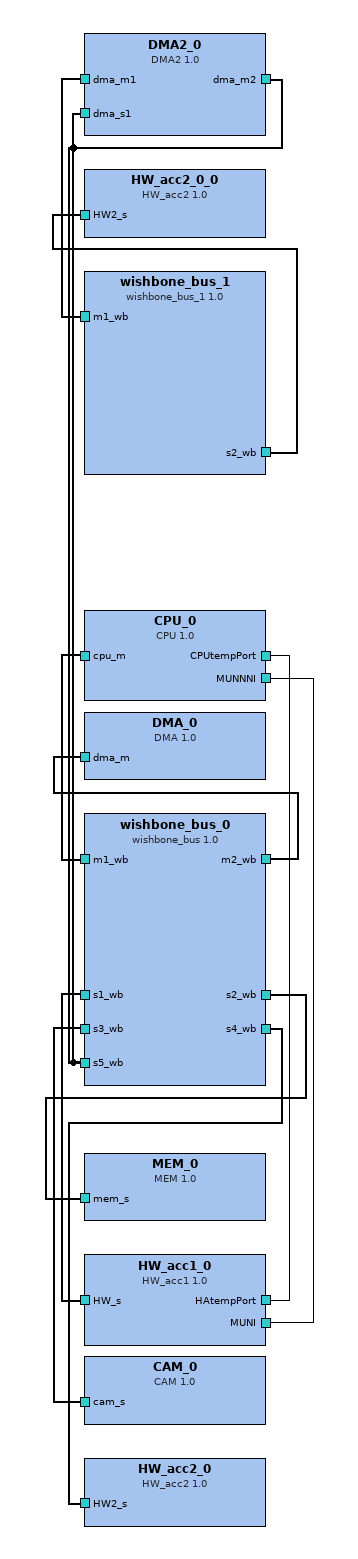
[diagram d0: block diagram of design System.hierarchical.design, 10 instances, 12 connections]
<?xml version="1.0" encoding="UTF-8"?>
<!-- Created by Kactus214:39:11 22.04.2014 -->
<spirit:design xmlns:kactus2="http://funbase.cs.tut.fi/" xmlns:spirit="http://www.spiritconsortium.org/XMLSchema/SPIRIT/1.5" xmlns:xsi="http://www.w3.org/2001/XMLSchema-instance" xsi:schemaLocation="http://www.spiritconsortium.org/XMLSchema/SPIRIT/1.5 http://www.spiritconsortium.org/XMLSchema/SPIRIT/1.5/index.xsd"><spirit:vendor>TUM</spirit:vendor><spirit:library>soc</spirit:library><spirit:name>System.hierarchical.design</spirit:name>
 <spirit:version>1.0</spirit:version><spirit:componentInstances>
 <spirit:componentInstance><spirit:instanceName>DMA2_0</spirit:instanceName><spirit:componentRef spirit:vendor="TUM" spirit:library="soc" spirit:name="DMA2" spirit:version="1.0"/></spirit:componentInstance>
 <spirit:componentInstance><spirit:instanceName>HW_acc2_0_0</spirit:instanceName><spirit:componentRef spirit:vendor="TUM" spirit:library="soc" spirit:name="HW_acc2" spirit:version="1.0"/></spirit:componentInstance>
 <spirit:componentInstance><spirit:instanceName>wishbone_bus_1</spirit:instanceName><spirit:componentRef spirit:vendor="TUM" spirit:library="soc" spirit:name="wishbone_bus_1" spirit:version="1.0"/></spirit:componentInstance>
 <spirit:componentInstance><spirit:instanceName>CPU_0</spirit:instanceName><spirit:componentRef spirit:vendor="TUM" spirit:library="soc" spirit:name="CPU" spirit:version="1.0"/></spirit:componentInstance>
 <spirit:componentInstance><spirit:instanceName>DMA_0</spirit:instanceName><spirit:componentRef spirit:vendor="TUM" spirit:library="soc" spirit:name="DMA" spirit:version="1.0"/></spirit:componentInstance>
 <spirit:componentInstance><spirit:instanceName>wishbone_bus_0</spirit:instanceName><spirit:componentRef spirit:vendor="TUM" spirit:library="soc" spirit:name="wishbone_bus" spirit:version="1.0"/></spirit:componentInstance>
 <spirit:componentInstance><spirit:instanceName>MEM_0</spirit:instanceName><spirit:componentRef spirit:vendor="TUM" spirit:library="soc" spirit:name="MEM" spirit:version="1.0"/></spirit:componentInstance>
 <spirit:componentInstance><spirit:instanceName>HW_acc1_0</spirit:instanceName><spirit:componentRef spirit:vendor="TUM" spirit:library="soc" spirit:name="HW_acc1" spirit:version="1.0"/></spirit:componentInstance>
 <spirit:componentInstance><spirit:instanceName>CAM_0</spirit:instanceName><spirit:componentRef spirit:vendor="TUM" spirit:library="soc" spirit:name="CAM" spirit:version="1.0"/></spirit:componentInstance>
 <spirit:componentInstance><spirit:instanceName>HW_acc2_0</spirit:instanceName><spirit:componentRef spirit:vendor="TUM" spirit:library="soc" spirit:name="HW_acc2" spirit:version="1.0"/></spirit:componentInstance>
</spirit:componentInstances><spirit:interconnections>
 <spirit:interconnection><spirit:name>DMA2_0_dma_m2__To__wishbone_bus_0_s5_wb</spirit:name><spirit:activeInterface spirit:componentRef="DMA2_0" spirit:busRef="dma_m2"/><spirit:activeInterface spirit:componentRef="wishbone_bus_0" spirit:busRef="s5_wb"/></spirit:interconnection>
 <spirit:interconnection><spirit:name>DMA2_0_dma_m1__To__wishbone_bus_1_m1_wb</spirit:name><spirit:activeInterface spirit:componentRef="DMA2_0" spirit:busRef="dma_m1"/><spirit:activeInterface spirit:componentRef="wishbone_bus_1" spirit:busRef="m1_wb"/></spirit:interconnection>
 <spirit:interconnection><spirit:name>wishbone_bus_1_s2_wb__To__HW_acc2_0_0_HW2_s</spirit:name><spirit:activeInterface spirit:componentRef="wishbone_bus_1" spirit:busRef="s2_wb"/><spirit:activeInterface spirit:componentRef="HW_acc2_0_0" spirit:busRef="HW2_s"/></spirit:interconnection>
 <spirit:interconnection><spirit:name>CPU_0_cpu_m__To__wishbone_bus_0_m1_wb</spirit:name><spirit:activeInterface spirit:componentRef="CPU_0" spirit:busRef="cpu_m"/><spirit:activeInterface spirit:componentRef="wishbone_bus_0" spirit:busRef="m1_wb"/></spirit:interconnection>
 <spirit:interconnection><spirit:name>DMA_0_dma_m__To__wishbone_bus_0_m2_wb</spirit:name><spirit:activeInterface spirit:componentRef="DMA_0" spirit:busRef="dma_m"/><spirit:activeInterface spirit:componentRef="wishbone_bus_0" spirit:busRef="m2_wb"/></spirit:interconnection>
 <spirit:interconnection><spirit:name>wishbone_bus_0_s1_wb__To__HW_acc1_0_HW_s</spirit:name><spirit:activeInterface spirit:componentRef="wishbone_bus_0" spirit:busRef="s1_wb"/><spirit:activeInterface spirit:componentRef="HW_acc1_0" spirit:busRef="HW_s"/></spirit:interconnection>
 <spirit:interconnection><spirit:name>wishbone_bus_0_s5_wb__To__DMA2_0_dma_s1</spirit:name><spirit:activeInterface spirit:componentRef="wishbone_bus_0" spirit:busRef="s5_wb"/><spirit:activeInterface spirit:componentRef="DMA2_0" spirit:busRef="dma_s1"/></spirit:interconnection>
 <spirit:interconnection><spirit:name>wishbone_bus_0_s4_wb__To__HW_acc2_0_HW2_s</spirit:name><spirit:activeInterface spirit:componentRef="wishbone_bus_0" spirit:busRef="s4_wb"/><spirit:activeInterface spirit:componentRef="HW_acc2_0" spirit:busRef="HW2_s"/></spirit:interconnection>
 <spirit:interconnection><spirit:name>wishbone_bus_0_s3_wb__To__CAM_0_cam_s</spirit:name><spirit:activeInterface spirit:componentRef="wishbone_bus_0" spirit:busRef="s3_wb"/><spirit:activeInterface spirit:componentRef="CAM_0" spirit:busRef="cam_s"/></spirit:interconnection>
 <spirit:interconnection><spirit:name>wishbone_bus_0_s2_wb__To__MEM_0_mem_s</spirit:name><spirit:activeInterface spirit:componentRef="wishbone_bus_0" spirit:busRef="s2_wb"/><spirit:activeInterface spirit:componentRef="MEM_0" spirit:busRef="mem_s"/></spirit:interconnection>
</spirit:interconnections><spirit:adHocConnections>
 <spirit:adHocConnection><spirit:name>HW_acc1_0_tempPortHA_to_CPU_0_tempPort</spirit:name><spirit:internalPortReference spirit:componentRef="HW_acc1_0" spirit:portRef="HAtempPort" spirit:left="0" spirit:right="0"/><spirit:internalPortReference spirit:componentRef="CPU_0" spirit:portRef="CPUtempPort" spirit:left="0" spirit:right="0"/></spirit:adHocConnection>
 <spirit:adHocConnection><spirit:name>MUNISH</spirit:name><spirit:internalPortReference spirit:componentRef="HW_acc1_0" spirit:portRef="MUNI" spirit:left="0" spirit:right="0"/><spirit:internalPortReference spirit:componentRef="CPU_0" spirit:portRef="MUNNNI" spirit:left="0" spirit:right="0"/></spirit:adHocConnection>
</spirit:adHocConnections></spirit:design>

